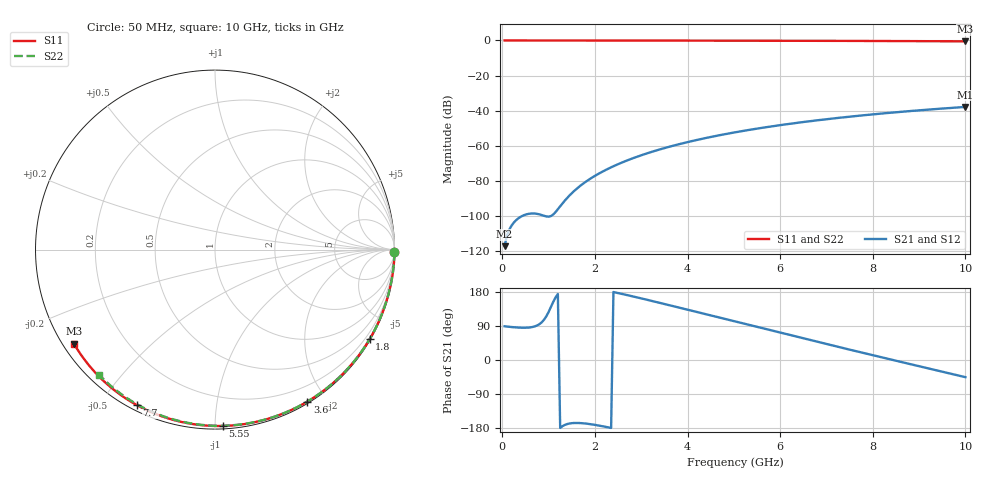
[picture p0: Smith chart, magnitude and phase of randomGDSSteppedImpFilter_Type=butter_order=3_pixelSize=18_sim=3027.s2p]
! freq	dB(S11)	phase(S11)	dB(S12)	phase(S12)
!  dB(S21)	phase(S21)	dB(S22)	phase(S22)
!S-par simulation data
#  GHz  S  DB  R 50
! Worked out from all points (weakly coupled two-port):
!   200 points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, 50 MHz to 10 GHz, reference 50 ohm
!   highest |S21| = -37.80 dB at 10 GHz (marker M1); lowest = -117.0 dB at 50 MHz (marker M2)
!   lowest |S11| = -0.5 dB at 10 GHz (marker M3), VSWR 35.14, Z = 1.55 - j15.1 ohm
!   |S11| at or under -10 dB: nowhere
!   |S22| runs from -0.4 to 0.0 dB; largest |S21 - S12| = 0
!   S11 on the Smith chart (normalised r, x): 50 MHz: open; 1.8 GHz: 0.03, -3.71; 3.6 GHz: 0.02, -1.78; 5.55 GHz: 0.02, -1.04; 7.7 GHz: 0.02, -0.62; 10 GHz: 0.03, -0.30
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0.05  -0.00 -0.9  -116.99 89.1  -116.99 89.1  -0.00 -0.8
0.45  -0.01 -7.7  -99.56 85.0  -99.56 85.0  -0.01 -6.9
0.9  -0.02 -15.2  -99.71 106.0  -99.71 106.0  -0.02 -13.7
1.3  -0.03 -21.9  -92.65 -174.6  -92.65 -174.6  -0.02 -19.8
1.75  -0.04 -29.3  -81.34 -167.1  -81.34 -167.1  -0.03 -26.5
1.8  -0.04 -30.1  -80.39 -167.7  -80.39 -167.7  -0.03 -27.2
1.85  -0.04 -31.0  -79.49 -168.4  -79.49 -168.4  -0.04 -28.0
2.05  -0.04 -34.2  -76.23 -172.2  -76.23 -172.2  -0.04 -30.9
2.2  -0.05 -36.7  -74.09 -175.6  -74.09 -175.6  -0.04 -33.1
2.55  -0.05 -42.3  -69.79 175.3  -69.79 175.3  -0.05 -38.3
2.95  -0.06 -48.6  -65.75 164.1  -65.75 164.1  -0.06 -44.0
3.4  -0.07 -55.7  -61.97 150.8  -61.97 150.8  -0.07 -50.4
3.6  -0.08 -58.8  -60.49 144.8  -60.49 144.8  -0.07 -53.2
4.3  -0.10 -69.3  -56.01 123.7  -56.01 123.7  -0.09 -62.9
5.05  -0.12 -80.3  -52.13 100.8  -52.13 100.8  -0.11 -73.0
5.55  -0.14 -87.5  -49.93 85.7  -49.93 85.7  -0.13 -79.5
6.1  -0.17 -95.1  -47.79 69.1  -47.79 69.1  -0.15 -86.5
6.7  -0.20 -103.3  -45.73 51.1  -45.73 51.1  -0.18 -94.0
7.7  -0.27 -116.6  -42.81 21.5  -42.81 21.5  -0.24 -106.1
8.35  -0.32 -125.1  -41.18 2.5  -41.18 2.5  -0.29 -113.8
9.2  -0.40 -136.0  -39.32 -22.2  -39.32 -22.2  -0.36 -123.7
10  -0.49 -146.3  -37.80 -45.3  -37.80 -45.3  -0.44 -132.8
